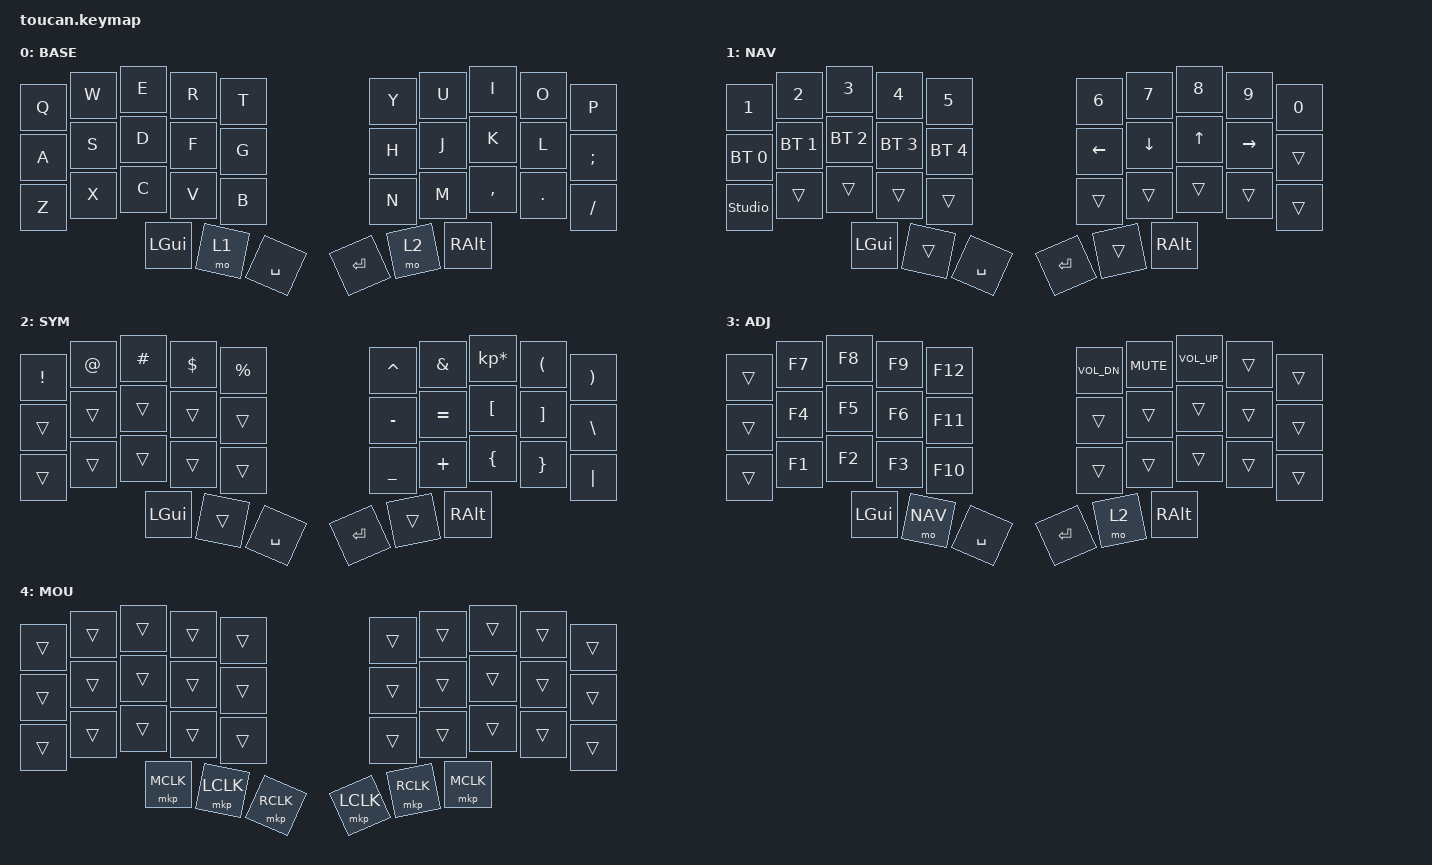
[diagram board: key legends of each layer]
#include <behaviors.dtsi>
#include <dt-bindings/zmk/keys.h>
#include <dt-bindings/zmk/bt.h>
#include <dt-bindings/zmk/outputs.h>
#include <dt-bindings/zmk/pointing.h>

#define BASE 0
#define NAV  1
#define SYM  2
#define ADJ  3

/ {
    conditional_layers {
        compatible = "zmk,conditional-layers";
        tri_layer {
            if-layers = <1 2>;
            then-layer = <3>;
        };
    };

    keymap {
        compatible = "zmk,keymap";

        base {
            display-name = "BASE";
            bindings = <
                &kp Q &kp W &kp E    &kp R &kp T        &kp Y   &kp U &kp I     &kp O   &kp P
                &kp A &kp S &kp D    &kp F &kp G        &kp H   &kp J &kp K     &kp L   &kp SEMI
                &kp Z &kp X &kp C    &kp V &kp B        &kp N   &kp M &kp COMMA &kp DOT &kp FSLH
                            &kp LGUI &mo 1 &kp SPACE    &kp RET &mo 2 &kp RALT
            >;
        };

        nav {
            display-name = "NAV";
            bindings = <
                &kp N1          &kp N2       &kp N3       &kp N4       &kp N5         &kp N6   &kp N7   &kp N8   &kp N9    &kp N0
                &bt BT_SEL 0    &bt BT_SEL 1 &bt BT_SEL 2 &bt BT_SEL 3 &bt BT_SEL 4   &kp LEFT &kp DOWN &kp UP   &kp RIGHT &trans
                &studio_unlock  &trans       &trans       &trans       &trans         &trans   &trans   &trans   &trans    &trans
                                             &kp LGUI     &trans       &kp SPACE      &kp RET  &trans   &kp RALT
            >;
        };

        sym {
            display-name = "SYM";
            bindings = <
                &kp EXCL &kp AT &kp HASH &kp DLLR &kp PRCNT   &kp CARET &kp AMPS  &kp KP_MULTIPLY &kp LPAR &kp RPAR
                &trans   &trans &trans   &trans   &trans      &kp MINUS &kp EQUAL &kp LBKT        &kp RBKT &kp BSLH
                &trans   &trans &trans   &trans   &trans      &kp UNDER &kp PLUS  &kp LBRC        &kp RBRC &kp PIPE
                                &kp LGUI &trans   &kp SPACE   &kp RET   &trans    &kp RALT
            >;
        };

        adj {
            display-name = "ADJ";
            bindings = <
                &trans &kp F7 &kp F8   &kp F9  &kp F12      &kp C_VOL_DN &kp C_MUTE  &kp C_VOL_UP &trans &trans
                &trans &kp F4 &kp F5   &kp F6  &kp F11      &trans       &trans      &trans       &trans &trans
                &trans &kp F1 &kp F2   &kp F3  &kp F10      &trans       &trans      &trans       &trans &trans
                              &kp LGUI &mo NAV &kp SPACE    &kp RET      &mo 2       &kp RALT
            >;
        };

        mouse {
            display-name = "MOU";
            bindings = <
                &trans &trans &trans    &trans    &trans        &trans    &trans    &trans    &trans &trans
                &trans &trans &trans    &trans    &trans        &trans    &trans    &trans    &trans &trans
                &trans &trans &trans    &trans    &trans        &trans    &trans    &trans    &trans &trans
                              &mkp MCLK &mkp LCLK &mkp RCLK     &mkp LCLK &mkp RCLK &mkp MCLK
            >;
        };

        extra_2 {
                status = "reserved";
        };

        extra_3 {
                status = "reserved";
        };
    };
};
